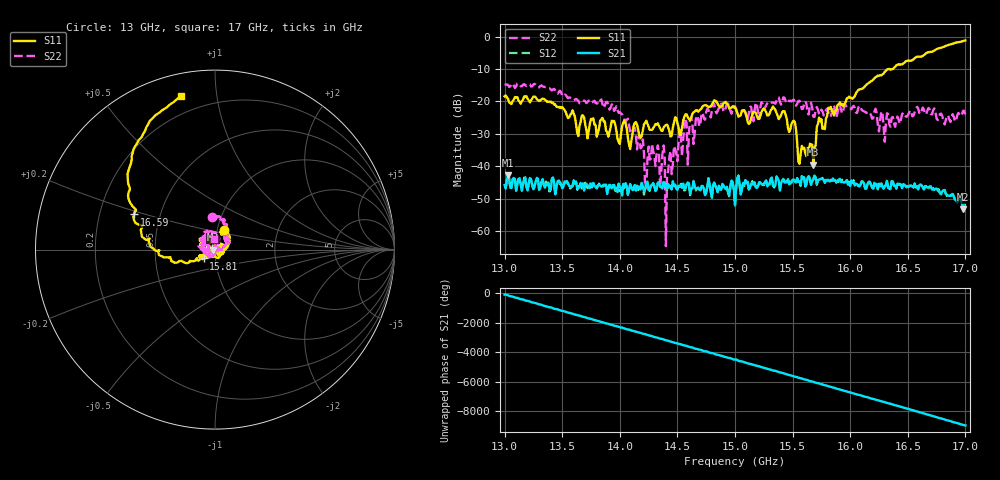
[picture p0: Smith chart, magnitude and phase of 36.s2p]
!Keysight Technologies,P9374A,MY57211807,A.19.30.04
!Date: Friday, May 01, 2026 14:13:55
!Correction: S11(C  2-Port  )
!S21(C  2-Port  )
!S12(C  2-Port  )
!S22(C  2-Port  )
!S2P File: Measurements: S11, S21, S12, S22:
# Hz S  RI  R 50
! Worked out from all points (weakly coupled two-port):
!   401 points, 13 GHz to 17 GHz, reference 50 ohm
!   highest |S21| = -42.73 dB at 13.03 GHz (marker M1); lowest = -53.3 dB at 16.98 GHz (marker M2)
!   lowest |S11| = -39.5 dB at 15.68 GHz (marker M3), VSWR 1.02, Z = 49 - j0.0501 ohm
!   |S11| at or under -10 dB: start of sweep to 16.33 GHz; 16.34263 GHz to 16.37039 GHz (27.76 MHz wide, 0.17 % of centre)
!   |S22| runs from -64.7 to -14.4 dB; largest |S21 - S12| = 0.00093
!   S11 on the Smith chart (normalised r, x): 13 GHz: 1.08, +0.24; 15.81 GHz: 0.88, -0.09; 16.59 GHz: 0.35, +0.18; 17 GHz: 0.11, +0.80
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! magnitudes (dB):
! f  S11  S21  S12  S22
! 13 GHz  -18.4  -45.8  -46.4  -14.9
! 13.03 GHz  -19.2  -42.7  -43.2  -14.9
! 13.67 GHz  -24.3  -46.2  -46.9  -20.2
! 13.95 GHz  -26.0  -45.8  -45.8  -22.9
! 14.09 GHz  -34.7  -45.5  -45.7  -29.3
! 14.23 GHz  -25.9  -45.2  -45.0  -46.1
! 14.27 GHz  -28.8  -46.2  -45.3  -37.7
! 14.34 GHz  -27.6  -45.0  -45.2  -36.0
! 14.41 GHz  -27.2  -47.1  -47.1  -42.8
! 14.56 GHz  -24.8  -47.0  -47.5  -27.5
! 15 GHz  -21.7  -51.8  -52.2  -21.5
! 15.42 GHz  -23.0  -44.0  -43.9  -18.7
! 15.51 GHz  -25.9  -44.1  -43.9  -19.5
! 15.56 GHz  -39.3  -44.7  -44.5  -19.8
! 15.67 GHz  -33.3  -44.7  -44.8  -22.0
! 15.68 GHz  -39.5  -44.1  -44.0  -24.7
! 15.73 GHz  -25.0  -44.1  -43.9  -23.9
! 15.81 GHz  -22.0  -44.2  -44.1  -23.3
! 16.34 GHz  -9.9  -46.7  -47.0  -27.2
! 16.59 GHz  -6.2  -47.0  -47.2  -22.1
! 16.98 GHz  -1.4  -53.3  -52.7  -22.9
! 17 GHz  -1.2  -52.6  -52.4  -24.3
